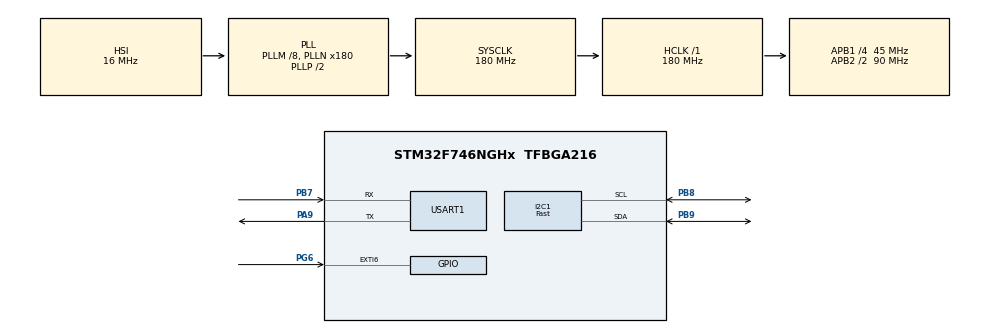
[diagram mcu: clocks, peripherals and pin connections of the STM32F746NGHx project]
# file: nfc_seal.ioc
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I2C1.I2C_Speed_Mode=I2C_Fast
I2C1.Timing=0x00401650
Mcu.Family=STM32F7
Mcu.Name=STM32F746NGHx
Mcu.Package=TFBGA216
NVIC.EXTI9_5_IRQn=true\:0\:0\:false\:false\:true\:true\:true
NVIC.PriorityGroup=NVIC_PRIORITYGROUP_4
PA9.Mode=Asynchronous
PA9.Signal=USART1_TX
PB7.Mode=Asynchronous
PB7.Signal=USART1_RX
PB8.GPIO_Pu=GPIO_PULLUP
PB8.Mode=I2C
PB8.Signal=I2C1_SCL
PB9.GPIO_Pu=GPIO_PULLUP
PB9.Mode=I2C
PB9.Signal=I2C1_SDA
PG6.Signal=GPXTI6
ProjectManager.HeapSize=0x200
ProjectManager.StackSize=0x400
ProjectManager.TargetToolchain=STM32CubeIDE
RCC.AHBFreq_Value=180000000
RCC.APB1CLKDivider=RCC_HCLK_DIV4
RCC.APB1Freq_Value=45000000
RCC.APB1TimFreq_Value=90000000
RCC.APB2CLKDivider=RCC_HCLK_DIV2
RCC.APB2Freq_Value=90000000
RCC.APB2TimFreq_Value=180000000
RCC.CortexFreq_Value=180000000
RCC.HCLKFreq_Value=180000000
RCC.HSE_VALUE=25000000
RCC.HSI_VALUE=16000000
RCC.LSE_VALUE=32768
RCC.PLLM=8
RCC.PLLN=180
RCC.SYSCLKFreq_VALUE=180000000
RCC.SYSCLKSource=RCC_SYSCLKSOURCE_PLLCLK
RCC.USBFreq_Value=180000000
RCC.VCOOutputFreq_Value=360000000
USART1.VirtualMode-Asynchronous=VM_ASYNC
VP_CRC_VS_CRC.Mode=CRC_Activate
board=custom

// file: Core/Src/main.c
/* USER CODE BEGIN Header */
/**
 ******************************************************************************
 * @file           : main.c
 * @brief          : Main program body
 ******************************************************************************
 * @attention
 *
 * Copyright (c) 2022 STMicroelectronics.
 * All rights reserved.
 *
 * This software is licensed under terms that can be found in the LICENSE file
 * in the root directory of this software component.
 * If no LICENSE file comes with this software, it is provided AS-IS.
 *
 ******************************************************************************
 */
/* USER CODE END Header */
#include "main.h"

/* USER CODE BEGIN Includes */
#include "seal_embedded.h"
#include "ili9341_cube.h"
#include "st25ftm_common.h"
/* USER CODE END Includes */

CRC_HandleTypeDef hcrc;

I2C_HandleTypeDef hi2c1;

UART_HandleTypeDef huart1;

/* USER CODE BEGIN PV */
#define FTM_RESP_CMD (0x80)

typedef enum {
	FTM_VALID = ((uint8_t) 0x81), /*!> Command has been successfully processed */
	FTM_ERROR = ((uint8_t) 0x82), /*!> Failure when processing the command */
	FTM_INTERNAL_ERR = ((uint8_t) 0x83), /*!> Unused value */
	FTM_UNKNOWN = ((uint8_t) 0x84), /*!> Unknown command */
	FTM_NOT_ALLOWED = ((uint8_t) 0x85) /*!> The command is currently not allowed */
} ftm_status_t;

typedef enum {
	FTM_READ_ID = 0x0, /*!> Get FW and board version */
	FTM_SEND_PICTURE = 0x1, /*!> Send a picture to the FW */
	FTM_READ_PICTURE = 0x2, /*!> Read a picture from the FW */
	FTM_STOPWATCH = 0x3, /*!> Send timestamp */
	FTM_FW_UPGRADE = 0x4, /*!> Send a new FW */
	FTM_SEND_DATA = 0x5, /*!> Send data to the FW */
	FTM_READ_DATA = 0x6, /*!> Read data from the FW */
	FTM_SEND_PASSWORD = 0x7, /*!> Send password, required before the FW upgrade command */
	FTM_READ_PICTURE_NO_ERROR_RECOVERY = 0x08, /*!> Read data from the FW, not using Error recovery */
	FTM_READ_DATA_NO_ERROR_RECOVERY = 0x09, /*!> Read a picture from the FW, not using Error recovery */
	FTM_ECHO = 0x0F, /*!> Send and read data to/from teh FW, respomse data are the same than command. Error recovery is decided by 1st command byte */
	FTM_NO_COMMAND = 0xFF, /*!> Default value when no command is on-going */
} ftm_cmd_t;

static ftm_cmd_t current_command = FTM_NO_COMMAND;
/* USER CODE END PV */

void SystemClock_Config(void);
static void MX_GPIO_Init(void);
static void MX_USART2_UART_Init(void);

static void MX_CRC_Init(void);
/* USER CODE BEGIN PFP */

static uint8_t cmdBuffer[8192];
static uint32_t cmdLength = 8192;

static void FTM_ReadData_Callback(uint8_t *dst, uint8_t *src, uint32_t len);
static void FTM_ReadData_Callback2(uint8_t *dst, uint8_t *src, uint32_t len);

/* USER CODE END PV */

/* Private function prototypes -----------------------------------------------*/
void SystemClock_Config(void);
static void MX_GPIO_Init(void);
static void MX_USART1_UART_Init(void);
static void MX_I2C1_Init(void);
static void MX_CRC_Init(void);
/* USER CODE BEGIN PFP */

/* USER CODE END PFP */

/* USER CODE BEGIN 0 */

int _write(int file, char *ptr, int len) {
	int DataIdx;
	HAL_UART_Transmit(&huart1, ptr, len, HAL_MAX_DELAY);
	return len;
}
SE_PARMS *par;
/* USER CODE END 0 */

uint8_t part1 = 0;
int cnt2 = 0;

int main(void) {

	/* MCU Configuration--------------------------------------------------------*/

	/* Reset of all peripherals, Initializes the Flash interface and the Systick. */
	HAL_Init();

	/* Configure the system clock */
	SystemClock_Config();

	/* Initialize all configured peripherals */
	MX_GPIO_Init();
	MX_USART1_UART_Init();
	MX_I2C1_Init();
	MX_CRC_Init();
	/* USER CODE BEGIN 2 */

	BSP_NFCTAG_Init(0U);

	printf("\r============\r\n");

	if (BSP_NFCTAG_IsDeviceReady(0U, 2) != -1) {
		printf("\rNFC OK\r\n");

	} else {
		printf("\rNFC not ok\n");
	}

	ST25FTM_Init();

	ST25FTM_SetRxFrameMaxLength(256);
	ST25FTM_SetTxFrameMaxLength(256);
	cmdLength = 1000;
	current_command = FTM_NO_COMMAND;
	ST25FTM_ReceiveCommand(cmdBuffer, &cmdLength, NULL);

	/* USER CODE END 2 */

	/* Infinite loop */
	/* USER CODE BEGIN WHILE */
	float g[4096];
	float input[]    = {24.94, 24.75, 24.56, 25.38, 121, 34, 53, 40,  0.08,  0.19,  0.06,  0.06,  390, 0.769231, 0,  0};

	for (int i = 0; i < 4096; i++)
		g[i] = input[i%16];

	double scale = pow(2, 25);

	par = se_setup(8192, 6, scale, SE_SYM_ENCR);

	while (1)

	{
		/* USER CODE END WHILE */

		/* USER CODE BEGIN 3 */
		ST25FTM_Runner();

		if (ST25FTM_IsNewFrame()) {
			current_command = (ftm_cmd_t) cmdBuffer[0];
		}

		if (ST25FTM_IsReceptionComplete()) {

			if (current_command == FTM_READ_ID) {

				uint8_t response_p[6];
				response_p[2] = 0;
				response_p[3] = 1;
				response_p[4] = 2;
				response_p[5] = 3;
				response_p[0] = (FTM_RESP_CMD | current_command);
				response_p[1] = (FTM_VALID);

				ST25FTM_SendCommand(response_p, 6, 0, NULL);

			} else if (current_command == FTM_READ_DATA) {

				int data_transfer_length = 32768;
				uint32_t rspLen = data_transfer_length + 2;

				ST25FTM_Send_Ack_t ack =(current_command == FTM_READ_DATA) ?ST25FTM_SEND_WITH_ACK :ST25FTM_SEND_WITHOUT_ACK;

               if(cnt2%2==0){
            	   part1++;
            	   se_encrypt(NULL, &g, 4096 * 8, 1, par);
            	   ST25FTM_SendCommand(0, rspLen, ack, &FTM_ReadData_Callback);
               }
               else{
            	   ST25FTM_SendCommand(0, rspLen, ack, &FTM_ReadData_Callback2);
               }
				cnt2++;
				printf("\r\npart %d of 12 \r\n",cnt2);

			}
		}

		if (ST25FTM_IsTransmissionComplete() || ST25FTM_IsIdle()) {

			cmdLength = 4;
			current_command = FTM_NO_COMMAND;
			ST25FTM_ReceiveCommand(cmdBuffer, &cmdLength, NULL);

		}

		if (ST25FTM_CheckError()) {
			printf("error\n");
		}
		/* USER CODE END 3 */
	}
}

static void FTM_ReadData_Callback(uint8_t *dst, uint8_t *src, uint32_t len) {

	if (src == 0)
	{

		dst[0] = (FTM_RESP_CMD) | (current_command);
		dst[1] = (FTM_VALID);
		uint8_t *t = ((void*)par->se_ptrs->c0_ptr) ;
		memcpy(&dst[2],t , len - 2);
	}
	else
	{
		uint8_t *t = ((void*)par->se_ptrs->c0_ptr) + (int)src;
		memcpy(dst,t-2 , len);
	}
}

static void FTM_ReadData_Callback2(uint8_t *dst, uint8_t *src, uint32_t len) {

	if (src == 0)
	{

		dst[0] = (FTM_RESP_CMD) | (current_command);
		dst[1] = (FTM_VALID);
		uint8_t *t = ((void*)par->se_ptrs->c1_ptr) ;
		memcpy(&dst[2],t , len - 2);
	}
	else
	{
		uint8_t *t = ((void*)par->se_ptrs->c1_ptr) + (int)src;
		memcpy(dst,t-2 , len);
	}
}

void SystemClock_Config(void) {
	RCC_OscInitTypeDef RCC_OscInitStruct = { 0 };
	RCC_ClkInitTypeDef RCC_ClkInitStruct = { 0 };

	/** Configure the main internal regulator output voltage
	 */
	__HAL_RCC_PWR_CLK_ENABLE();
	__HAL_PWR_VOLTAGESCALING_CONFIG(PWR_REGULATOR_VOLTAGE_SCALE1);
	/** Initializes the RCC Oscillators according to the specified parameters
	 * in the RCC_OscInitTypeDef structure.
	 */
	RCC_OscInitStruct.OscillatorType = RCC_OSCILLATORTYPE_HSI;
	RCC_OscInitStruct.HSIState = RCC_HSI_ON;
	RCC_OscInitStruct.HSICalibrationValue = RCC_HSICALIBRATION_DEFAULT;
	RCC_OscInitStruct.PLL.PLLState = RCC_PLL_ON;
	RCC_OscInitStruct.PLL.PLLSource = RCC_PLLSOURCE_HSI;
	RCC_OscInitStruct.PLL.PLLM = 8;
	RCC_OscInitStruct.PLL.PLLN = 180;
	RCC_OscInitStruct.PLL.PLLP = RCC_PLLP_DIV2;
	RCC_OscInitStruct.PLL.PLLQ = 2;
	if (HAL_RCC_OscConfig(&RCC_OscInitStruct) != HAL_OK) {
		Error_Handler();
	}
	/** Initializes the CPU, AHB and APB buses clocks
	 */
	RCC_ClkInitStruct.ClockType = RCC_CLOCKTYPE_HCLK | RCC_CLOCKTYPE_SYSCLK
			| RCC_CLOCKTYPE_PCLK1 | RCC_CLOCKTYPE_PCLK2;
	RCC_ClkInitStruct.SYSCLKSource = RCC_SYSCLKSOURCE_PLLCLK;
	RCC_ClkInitStruct.AHBCLKDivider = RCC_SYSCLK_DIV1;
	RCC_ClkInitStruct.APB1CLKDivider = RCC_HCLK_DIV4;
	RCC_ClkInitStruct.APB2CLKDivider = RCC_HCLK_DIV2;

	if (HAL_RCC_ClockConfig(&RCC_ClkInitStruct, FLASH_LATENCY_5) != HAL_OK) {
		Error_Handler();
	}
}

static void MX_CRC_Init(void) {

	hcrc.Instance = CRC;
	hcrc.Init.DefaultPolynomialUse = DEFAULT_POLYNOMIAL_ENABLE;
	hcrc.Init.DefaultInitValueUse = DEFAULT_INIT_VALUE_ENABLE;
	hcrc.Init.InputDataInversionMode = CRC_INPUTDATA_INVERSION_NONE;
	hcrc.Init.OutputDataInversionMode = CRC_OUTPUTDATA_INVERSION_DISABLE;
	hcrc.InputDataFormat = CRC_INPUTDATA_FORMAT_BYTES;
	if (HAL_CRC_Init(&hcrc) != HAL_OK) {
		Error_Handler();
	}

}

static void MX_I2C1_Init(void) {

	hi2c1.Instance = I2C1;
	hi2c1.Init.Timing = 0x00401650;
	hi2c1.Init.OwnAddress1 = 0;
	hi2c1.Init.AddressingMode = I2C_ADDRESSINGMODE_7BIT;
	hi2c1.Init.DualAddressMode = I2C_DUALADDRESS_DISABLE;
	hi2c1.Init.OwnAddress2 = 0;
	hi2c1.Init.OwnAddress2Masks = I2C_OA2_NOMASK;
	hi2c1.Init.GeneralCallMode = I2C_GENERALCALL_DISABLE;
	hi2c1.Init.NoStretchMode = I2C_NOSTRETCH_DISABLE;
	if (HAL_I2C_Init(&hi2c1) != HAL_OK) {
		Error_Handler();
	}
	/** Configure Analogue filter
	 */
	if (HAL_I2CEx_ConfigAnalogFilter(&hi2c1, I2C_ANALOGFILTER_ENABLE)
			!= HAL_OK) {
		Error_Handler();
	}
	/** Configure Digital filter
	 */
	if (HAL_I2CEx_ConfigDigitalFilter(&hi2c1, 0) != HAL_OK) {
		Error_Handler();
	}

}

static void MX_USART1_UART_Init(void) {

	huart1.Instance = USART1;
	huart1.Init.BaudRate = 115200;
	huart1.Init.WordLength = UART_WORDLENGTH_8B;
	huart1.Init.StopBits = UART_STOPBITS_1;
	huart1.Init.Parity = UART_PARITY_NONE;
	huart1.Init.Mode = UART_MODE_TX_RX;
	huart1.Init.HwFlowCtl = UART_HWCONTROL_NONE;
	huart1.Init.OverSampling = UART_OVERSAMPLING_16;
	huart1.Init.OneBitSampling = UART_ONE_BIT_SAMPLE_DISABLE;
	huart1.AdvancedInit.AdvFeatureInit = UART_ADVFEATURE_NO_INIT;
	if (HAL_UART_Init(&huart1) != HAL_OK) {
		Error_Handler();
	}

}

static void MX_GPIO_Init(void) {
	GPIO_InitTypeDef GPIO_InitStruct = { 0 };

	/* GPIO Ports Clock Enable */
	__HAL_RCC_GPIOB_CLK_ENABLE();
	__HAL_RCC_GPIOA_CLK_ENABLE();
	__HAL_RCC_GPIOG_CLK_ENABLE();

	/*Configure GPIO pin : PG6 */
	GPIO_InitStruct.Pin = GPIO_PIN_6;
	GPIO_InitStruct.Mode = GPIO_MODE_IT_RISING;
	GPIO_InitStruct.Pull = GPIO_NOPULL;
	HAL_GPIO_Init(GPIOG, &GPIO_InitStruct);

	/* EXTI interrupt init*/
	HAL_NVIC_SetPriority(EXTI9_5_IRQn, 0, 0);
	HAL_NVIC_EnableIRQ(EXTI9_5_IRQn);

}

void Error_Handler(void) {
	__disable_irq();
	while (1) {
	}
}
